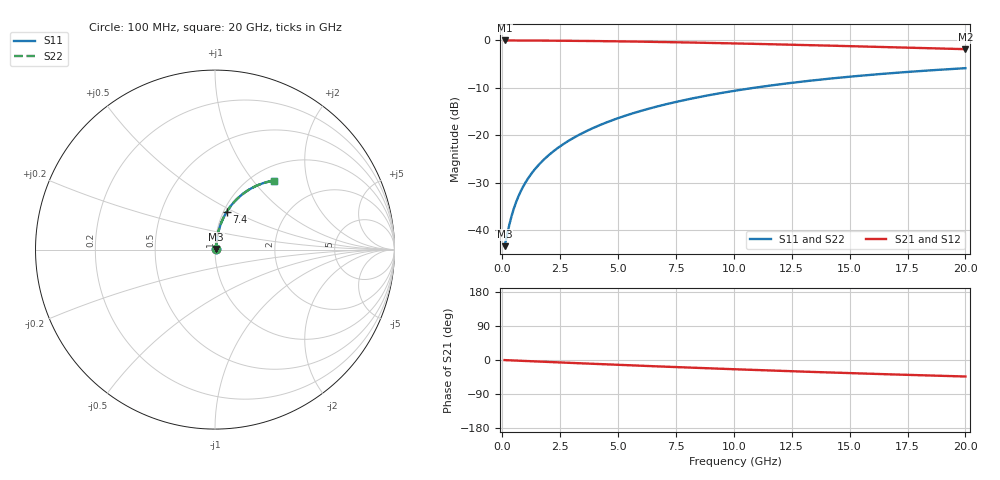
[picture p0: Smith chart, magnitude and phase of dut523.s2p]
! Touchstone file exported from HFSS 2024.1.0
!  File:  C:/UserFiles/LocalFiles/RDL_TSV_Batchsim/temp_RDL_bottom_523_1779688174.aedt
!  Generated:  01:52:03 PM May 25, 2026
!  Design:  RDL_bottom
!  Project:  temp_RDL_bottom_523_1779688174
!  Setup:  Setup1
!  Solution:  Sweep
! Variables:
!  dtsv = 10.80580581um
!  hbump = 3um
!  htsv = 60.62um
!  ldown = 516.79um
!  lrdl = 100um
!  p = 40
!  p1 = 57.16um
!  rhole = 1um
!  t = 450um
!  tdown = 2.44um
!  trdl = 3.915915916um
!  wdown = 12.81um
!  wrdl = 20um
# GHz S MA R 50.000000
! Terminal data exported
! Port[1] = RDL1_T1
! Port[2] = RDL1_T2
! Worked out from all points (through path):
!   200 points, 100 MHz to 20 GHz, reference 50 ohm
!   highest |S21| = -0.05 dB at 100 MHz (marker M1); lowest = -1.9 dB at 20 GHz (marker M2)
!   group delay of S21, straight-line fit = 6.06 ps
!   lowest |S11| = -43.4 dB at 100 MHz (marker M3), VSWR 1.01, Z = 50.6 + j0.318 ohm
!   |S11| at or under -10 dB: start of sweep to 10.92 GHz
!   |S22| runs from -43.4 to -5.9 dB; largest |S21 - S12| = 2.7e-15
!   S11 on the Smith chart (normalised r, x): 100 MHz: 1.01, +0.01; 7.4 GHz: 1.04, +0.46; 20 GHz: 1.25, +1.29
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0.1  0.006748 27.8  0.994 -0.3  0.994 -0.3  0.006748 27.8
! Gamma 0 0 0 0
! Port Impedance 50 0 50 0
0.3  0.01123 56.7  0.9938 -0.8  0.9938 -0.8  0.01123 56.7
0.4  0.01399 63.1  0.9937 -1.1  0.9937 -1.1  0.01399 63.1
0.5  0.01686 67.3  0.9935 -1.3  0.9935 -1.3  0.01686 67.3
0.6  0.01978 70.1  0.9933 -1.6  0.9933 -1.6  0.01978 70.1
0.7  0.02271 72.2  0.9931 -1.9  0.9931 -1.9  0.02271 72.2
0.9  0.02862 74.9  0.9927 -2.4  0.9927 -2.4  0.02862 74.9
1.2  0.03751 77.2  0.992 -3.1  0.992 -3.1  0.03751 77.2
1.4  0.04344 78.1  0.9915 -3.7  0.9915 -3.7  0.04344 78.1
1.7  0.05236 78.9  0.9906 -4.4  0.9906 -4.4  0.05236 78.9
2.2  0.06727 79.5  0.9889 -5.7  0.9889 -5.7  0.06727 79.5
2.8  0.0852 79.5  0.9864 -7.2  0.9864 -7.2  0.0852 79.5
3.5  0.1061 79.0  0.9829 -9.0  0.9829 -9.0  0.1061 79.0
4.2  0.127 78.2  0.9787 -10.8  0.9787 -10.8  0.127 78.2
5  0.1508 77.0  0.9732 -12.7  0.9732 -12.7  0.1508 77.0
6.8  0.2035 73.9  0.9583 -17.1  0.9583 -17.1  0.2035 73.9
7.4  0.2207 72.8  0.9527 -18.5  0.9527 -18.5  0.2207 72.7
8.7  0.2571 70.2  0.9396 -21.5  0.9396 -21.5  0.2571 70.2
10.1  0.2949 67.5  0.9244 -24.6  0.9244 -24.6  0.2949 67.5
13.4  0.3767 61.0  0.8856 -31.5  0.8856 -31.5  0.3767 61.0
16.7  0.4475 54.9  0.8449 -37.8  0.8449 -37.8  0.4475 54.9
20  0.5073 49.3  0.8046 -43.5  0.8046 -43.5  0.5073 49.3
